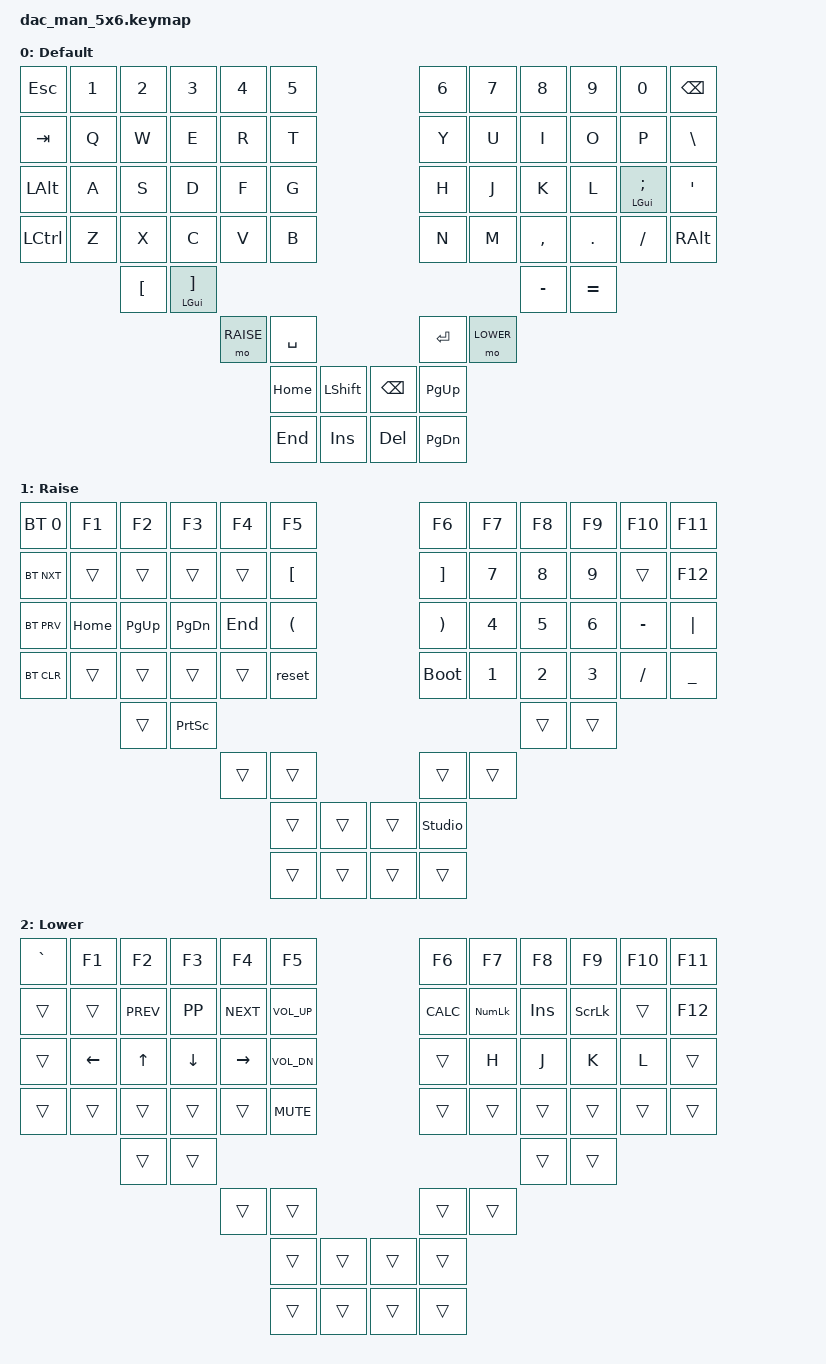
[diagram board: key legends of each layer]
#include <behaviors.dtsi>
#include <dt-bindings/zmk/keys.h>
#include <dt-bindings/zmk/bt.h>

#define DEFAULT 0
#define RAISE   1
#define LOWER   2

/ {
    keymap {
        compatible = "zmk,keymap";

        default_layer {
            display-name = "Default";
// Commented layout is not actual layout.
// -------------------------------------------------------------------------------------------------------------------------
// |   ESC   |    1    |    2    |    3    |    4    |    5    |                   |    6    |    7    |    8    |    9    |    0    |  BSPC   |
// |   TAB   |    Q    |    W    |    E    |    R    |    T    |                   |    Y    |    U    |    I    |    O    |    P    |    \    |
// |  LALT   |    A    |    S    |    D    |    F    |    G    |                   |    H    |    J    |    K    |    L    |    ;    |    '    |
// |  LCTRL  |    Z    |    X    |    C    |    V    |    B    |                   |    N    |    M    |    ,    |    .    |    /    |  RALT   |
//                     |    [    |    ]    |                                                           |    -    |    =    |
//                               | MO lay 1| SPACE   |                   | ENTER   | MO lay 2|
//                                         |   TAB   |   HOME  |   END   |   DEL   |
//                                         |  Raise  |    ~    |   GUI   |  Lower  |
            bindings = <
&kp ESC    &kp N1     &kp N2    &kp N3     &kp N4     &kp N5                          &kp N6     &kp N7     &kp N8     &kp N9     &kp N0         &kp BSPC
&kp TAB    &kp Q      &kp W     &kp E      &kp R      &kp T                           &kp Y      &kp U      &kp I      &kp O      &kp P          &kp BSLH
&kp LALT   &kp A      &kp S     &kp D      &kp F      &kp G                           &kp H      &kp J      &kp K      &kp L      &mt LGUI SEMI  &kp SQT
&kp LCTRL  &kp Z      &kp X     &kp C      &kp V      &kp B                           &kp N      &kp M      &kp COMMA  &kp DOT    &kp FSLH       &kp RALT
                      &kp LBKT  &mt LGUI RBKT                                                               &kp MINUS  &kp EQUAL
                                          &mo RAISE  &kp SPACE                &kp ENTER   &mo LOWER
                                                      &kp HOME &kp LSHIFT   &kp BSPC    &kp PG_UP
                                                      &kp END  &kp INS      &kp DEL     &kp PG_DN
            >;
        };

        raise {
            display-name = "Raise";
// commented layout is not actual layout.
// -------------------------------------------------------------------------------------------------------------------------
// |   esc   |    1    |    2    |    3    |    4    |    5    |                   |    6    |    7    |    8    |    9    |    0    |  bspc   |
// |   tab   |    q    |    w    |    e    |    r    |    t    |                   |    y    |    u    |    i    |    o    |    p    |    \    |
// |  lalt   |    a    |    s    |    d    |    f    |    g    |                   |    h    |    j    |    k    |    l    |    ;    |    '    |
// |  lctrl  |    z    |    x    |    c    |    v    |    b    |                   |    n    |    m    |    ,    |    .    |    /    |  ralt   |
//                     |    [    |    ]    |                                                           |    -    |    =    |
//                               | mo lay 1| space   |                   | enter   | mo lay 2|
//                                         |   tab   |   home  |   end   |   del   |
//                                         |  raise  |    ~    |   gui   |  lower  |
            bindings = <
&bt BT_SEL 0 &kp F1     &kp F2    &kp F3     &kp F4     &kp F5                          &kp F6        &kp F7     &kp F8     &kp F9     &kp F10        &kp F11
&bt BT_NXT   &trans     &trans    &trans     &trans     &kp LBKT                        &kp RBKT      &kp 7      &kp 8      &kp 9      &trans         &kp F12
&bt BT_PRV   &kp HOME   &kp PG_UP &kp PG_DN  &kp END    &kp LPAR                        &kp RPAR      &kp 4      &kp 5      &kp 6      &kp MINUS      &kp PIPE
&bt BT_CLR   &trans     &trans    &trans     &trans     &reset                          &bootloader   &kp 1      &kp 2      &kp 3      &kp FSLH       &kp UNDER
                        &trans    &kp PSCRN                                                                      &trans     &trans
                                             &trans     &trans                          &trans        &trans
                                                        &trans &trans            &trans &studio_unlock
                                                        &trans &trans            &trans &trans
            >;
        };

        lower {
            display-name = "Lower";
// commented layout is not actual layout.
// -------------------------------------------------------------------------------------------------------------------------
// |   esc   |    1    |    2    |    3    |    4    |    5    |                   |    6    |    7    |    8    |    9    |    0    |  bspc   |
// |   tab   |    q    |    w    |    e    |    r    |    t    |                   |    y    |    u    |    i    |    o    |    p    |    \    |
// |  lalt   |    a    |    s    |    d    |    f    |    g    |                   |    h    |    j    |    k    |    l    |    ;    |    '    |
// |  lctrl  |    z    |    x    |    c    |    v    |    b    |                   |    n    |    m    |    ,    |    .    |    /    |  ralt   |
//                     |    [    |    ]    |                                                           |    -    |    =    |
//                               | mo lay 1| space   |                   | enter   | mo lay 2|
//                                         |   tab   |   home  |   end   |   del   |
//                                         |  raise  |    ~    |   gui   |  lower  |
            bindings = <
&kp GRAVE  &kp F1     &kp F2     &kp F3     &kp F4     &kp F5                          &kp F6     &kp F7     &kp F8     &kp F9     &kp F10     &kp F11
&trans     &trans     &kp K_PREV &kp K_PP   &kp K_NEXT &kp C_VOL_UP                    &kp K_CALC &kp KP_NUM &kp INS    &kp SLCK   &trans      &kp F12
&trans     &kp LEFT   &kp UP     &kp DOWN   &kp RIGHT  &kp C_VOL_DN                    &trans     &kp H      &kp J      &kp K      &kp L       &trans
&trans     &trans     &trans     &trans     &trans     &kp C_MUTE                      &trans     &trans     &trans     &trans     &trans      &trans
                      &trans  &trans                                                              &trans     &trans
                                             &trans  &trans                 &trans   &trans
                                                      &trans &trans   &trans    &trans
                                                      &trans &trans   &trans    &trans
            >;
        };

        extra_1 {
            status = "reserved";
            display-name = "Extra 1";
        };

        extra_2 {
            status = "reserved";
            display-name = "Extra 2";
        };
   };
};
